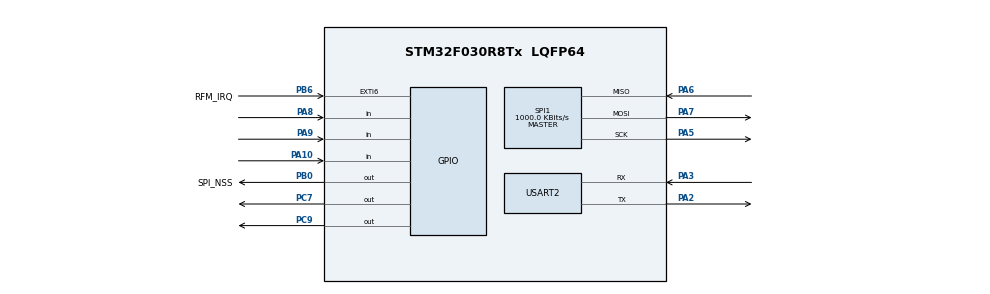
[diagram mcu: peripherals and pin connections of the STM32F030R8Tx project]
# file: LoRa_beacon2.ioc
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Mcu.Family=STM32F0
Mcu.Name=STM32F030R8Tx
Mcu.Package=LQFP64
NVIC.EXTI4_15_IRQn=true\:0\:0\:false\:false\:true\:true\:true\:true
PA10.Signal=GPIO_Input
PA13.Mode=Serial_Wire
PA13.Signal=SYS_SWDIO
PA14.Mode=Serial_Wire
PA14.Signal=SYS_SWCLK
PA2.Mode=Asynchronous
PA2.Signal=USART2_TX
PA3.Mode=Asynchronous
PA3.Signal=USART2_RX
PA5.Mode=Full_Duplex_Master
PA5.Signal=SPI1_SCK
PA6.Mode=Full_Duplex_Master
PA6.Signal=SPI1_MISO
PA7.Mode=Full_Duplex_Master
PA7.Signal=SPI1_MOSI
PA8.Signal=GPIO_Input
PA9.Signal=GPIO_Input
PB0.GPIO_Label=SPI_NSS
PB0.Signal=GPIO_Output
PB6.GPIO_Label=RFM_IRQ
PB6.Signal=GPXTI6
PC7.Signal=GPIO_Output
PC9.Signal=GPIO_Output
ProjectManager.HeapSize=0x200
ProjectManager.StackSize=0x400
ProjectManager.TargetToolchain=STM32CubeIDE
SPI1.BaudRatePrescaler=SPI_BAUDRATEPRESCALER_8
SPI1.CalculateBaudRate=1000.0 KBits/s
SPI1.DataSize=SPI_DATASIZE_8BIT
SPI1.Direction=SPI_DIRECTION_2LINES
SPI1.Mode=SPI_MODE_MASTER
SPI1.NSSPMode=SPI_NSS_PULSE_DISABLE
SPI1.VirtualType=VM_MASTER
USART2.VirtualMode-Asynchronous=VM_ASYNC
board=custom

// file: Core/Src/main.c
/* USER CODE BEGIN Header */
/**
  ******************************************************************************
  * @file           : main.c
  * @brief          : Main program body
  ******************************************************************************
  * @attention
  *
  * Copyright (c) 2023 STMicroelectronics.
  * All rights reserved.
  *
  * This software is licensed under terms that can be found in the LICENSE file
  * in the root directory of this software component.
  * If no LICENSE file comes with this software, it is provided AS-IS.
  *
  ******************************************************************************
  */
/* USER CODE END Header */
#include "main.h"

/* USER CODE BEGIN Includes */
#include <stdbool.h>
#include <stdio.h>
#include <string.h>
#include "../lora/sx1276.h"

/* USER CODE END Includes */

/* USER CODE BEGIN PD */

#define RF_FREQUENCY                                869525000 // Hz

#define TX_OUTPUT_POWER                             2         // dBm

#define LORA_BANDWIDTH                              0         // [0: 125 kHz,
                                                              //  1: 250 kHz,
                                                              //  2: 500 kHz,
                                                              //  3: Reserved]
#define LORA_SPREADING_FACTOR                       9         // [SF7..SF12]
#define LORA_CODINGRATE                             1         // [1: 4/5,
                                                              //  2: 4/6,
                                                              //  3: 4/7,
                                                              //  4: 4/8]
#define LORA_PREAMBLE_LENGTH                        8         // Same for Tx and Rx
#define LORA_SYMBOL_TIMEOUT                         5         // Symbols
#define LORA_FIX_LENGTH_PAYLOAD_ON                  true
#define LORA_FIX_LENGTH_PAYLOAD						17
#define LORA_IQ_INVERSION_ON                        false

/* USER CODE END PD */

SPI_HandleTypeDef hspi1;

UART_HandleTypeDef huart2;

/* USER CODE BEGIN PV */

static volatile bool rf95_available = false;

static uint8_t r_buf[256];
static volatile uint8_t r_len;

/* USER CODE END PV */

void SystemClock_Config(void);
static void MX_GPIO_Init(void);
static void MX_USART2_UART_Init(void);
static void MX_SPI1_Init(void);

/* USER CODE BEGIN 0 */

int _write(int file, char const *buf, int n)
{
    /* stdout redirection to UART2 */
    HAL_UART_Transmit(&huart2, (uint8_t*)(buf), n, HAL_MAX_DELAY);
    return n;
}

void OnRxDone(uint8_t *payload, uint16_t size, int16_t rssi, int8_t snr)
{
    r_len = size;
    memcpy(r_buf, payload, size);

    rf95_available = true;
}

/* USER CODE END 0 */

int main(void)
{

  /* MCU Configuration--------------------------------------------------------*/

  /* Reset of all peripherals, Initializes the Flash interface and the Systick. */
  HAL_Init();

  /* Configure the system clock */
  SystemClock_Config();

  /* Initialize all configured peripherals */
  MX_GPIO_Init();
  MX_USART2_UART_Init();
  MX_SPI1_Init();
  /* USER CODE BEGIN 2 */

  printf("Init: ");

  // Radio initialization
    static RadioEvents_t RadioEvents = {
        .TxDone = NULL,
        .RxDone = OnRxDone,
        .RxError = NULL,
    };

    printf(SX1276Init( &RadioEvents ) ? "ok\n" : "fail\n");

    SX1276SetChannel( RF_FREQUENCY );

    SX1276SetPublicNetwork( true );

    SX1276SetTxConfig( TX_OUTPUT_POWER, LORA_BANDWIDTH,
                                   LORA_SPREADING_FACTOR, LORA_CODINGRATE,
                                   LORA_PREAMBLE_LENGTH, LORA_FIX_LENGTH_PAYLOAD_ON,
                                   true, LORA_IQ_INVERSION_ON );

    SX1276SetRxConfig( LORA_BANDWIDTH, LORA_SPREADING_FACTOR,
                                   LORA_CODINGRATE, 0, LORA_PREAMBLE_LENGTH,
                                   LORA_SYMBOL_TIMEOUT, LORA_FIX_LENGTH_PAYLOAD_ON,
								   LORA_FIX_LENGTH_PAYLOAD, false, LORA_IQ_INVERSION_ON, true );

    SX1276SetRx();

    printf("Init done\n");

  /* USER CODE END 2 */

  /* Infinite loop */
  /* USER CODE BEGIN WHILE */
  while (1)
  {

      if (rf95_available) {
          // Should be a message for us now
		  for (uint8_t i = 0; i < r_len; i++) printf("%.2X", r_buf[i]);
		  printf("\n");

          rf95_available = false;
      }

    /* USER CODE END WHILE */

  }
}

void SystemClock_Config(void)
{
  RCC_OscInitTypeDef RCC_OscInitStruct = {0};
  RCC_ClkInitTypeDef RCC_ClkInitStruct = {0};

  /** Initializes the RCC Oscillators according to the specified parameters
  * in the RCC_OscInitTypeDef structure.
  */
  RCC_OscInitStruct.OscillatorType = RCC_OSCILLATORTYPE_HSI;
  RCC_OscInitStruct.HSIState = RCC_HSI_ON;
  RCC_OscInitStruct.HSICalibrationValue = RCC_HSICALIBRATION_DEFAULT;
  RCC_OscInitStruct.PLL.PLLState = RCC_PLL_NONE;
  if (HAL_RCC_OscConfig(&RCC_OscInitStruct) != HAL_OK)
  {
    Error_Handler();
  }

  /** Initializes the CPU, AHB and APB buses clocks
  */
  RCC_ClkInitStruct.ClockType = RCC_CLOCKTYPE_HCLK|RCC_CLOCKTYPE_SYSCLK
                              |RCC_CLOCKTYPE_PCLK1;
  RCC_ClkInitStruct.SYSCLKSource = RCC_SYSCLKSOURCE_HSI;
  RCC_ClkInitStruct.AHBCLKDivider = RCC_SYSCLK_DIV1;
  RCC_ClkInitStruct.APB1CLKDivider = RCC_HCLK_DIV1;

  if (HAL_RCC_ClockConfig(&RCC_ClkInitStruct, FLASH_LATENCY_0) != HAL_OK)
  {
    Error_Handler();
  }
}

static void MX_SPI1_Init(void)
{

  /* SPI1 parameter configuration*/
  hspi1.Instance = SPI1;
  hspi1.Init.Mode = SPI_MODE_MASTER;
  hspi1.Init.Direction = SPI_DIRECTION_2LINES;
  hspi1.Init.DataSize = SPI_DATASIZE_8BIT;
  hspi1.Init.CLKPolarity = SPI_POLARITY_LOW;
  hspi1.Init.CLKPhase = SPI_PHASE_1EDGE;
  hspi1.Init.NSS = SPI_NSS_SOFT;
  hspi1.Init.BaudRatePrescaler = SPI_BAUDRATEPRESCALER_8;
  hspi1.Init.FirstBit = SPI_FIRSTBIT_MSB;
  hspi1.Init.TIMode = SPI_TIMODE_DISABLE;
  hspi1.Init.CRCCalculation = SPI_CRCCALCULATION_DISABLE;
  hspi1.Init.CRCPolynomial = 7;
  hspi1.Init.CRCLength = SPI_CRC_LENGTH_DATASIZE;
  hspi1.Init.NSSPMode = SPI_NSS_PULSE_DISABLE;
  if (HAL_SPI_Init(&hspi1) != HAL_OK)
  {
    Error_Handler();
  }

}

static void MX_USART2_UART_Init(void)
{

  huart2.Instance = USART2;
  huart2.Init.BaudRate = 38400;
  huart2.Init.WordLength = UART_WORDLENGTH_8B;
  huart2.Init.StopBits = UART_STOPBITS_1;
  huart2.Init.Parity = UART_PARITY_NONE;
  huart2.Init.Mode = UART_MODE_TX_RX;
  huart2.Init.HwFlowCtl = UART_HWCONTROL_NONE;
  huart2.Init.OverSampling = UART_OVERSAMPLING_16;
  huart2.Init.OneBitSampling = UART_ONE_BIT_SAMPLE_DISABLE;
  huart2.AdvancedInit.AdvFeatureInit = UART_ADVFEATURE_NO_INIT;
  if (HAL_UART_Init(&huart2) != HAL_OK)
  {
    Error_Handler();
  }

}

static void MX_GPIO_Init(void)
{
  GPIO_InitTypeDef GPIO_InitStruct = {0};

  /* GPIO Ports Clock Enable */
  __HAL_RCC_GPIOA_CLK_ENABLE();
  __HAL_RCC_GPIOB_CLK_ENABLE();
  __HAL_RCC_GPIOC_CLK_ENABLE();

  /*Configure GPIO pin Output Level */
  HAL_GPIO_WritePin(SPI_NSS_GPIO_Port, SPI_NSS_Pin, GPIO_PIN_RESET);

  /*Configure GPIO pin Output Level */
  HAL_GPIO_WritePin(GPIOC, GPIO_PIN_7|GPIO_PIN_9, GPIO_PIN_RESET);

  /*Configure GPIO pin : SPI_NSS_Pin */
  GPIO_InitStruct.Pin = SPI_NSS_Pin;
  GPIO_InitStruct.Mode = GPIO_MODE_OUTPUT_PP;
  GPIO_InitStruct.Pull = GPIO_NOPULL;
  GPIO_InitStruct.Speed = GPIO_SPEED_FREQ_LOW;
  HAL_GPIO_Init(SPI_NSS_GPIO_Port, &GPIO_InitStruct);

  /*Configure GPIO pins : PC7 PC9 */
  GPIO_InitStruct.Pin = GPIO_PIN_7|GPIO_PIN_9;
  GPIO_InitStruct.Mode = GPIO_MODE_OUTPUT_PP;
  GPIO_InitStruct.Pull = GPIO_NOPULL;
  GPIO_InitStruct.Speed = GPIO_SPEED_FREQ_LOW;
  HAL_GPIO_Init(GPIOC, &GPIO_InitStruct);

  /*Configure GPIO pins : PA8 PA9 PA10 */
  GPIO_InitStruct.Pin = GPIO_PIN_8|GPIO_PIN_9|GPIO_PIN_10;
  GPIO_InitStruct.Mode = GPIO_MODE_INPUT;
  GPIO_InitStruct.Pull = GPIO_NOPULL;
  HAL_GPIO_Init(GPIOA, &GPIO_InitStruct);

  /*Configure GPIO pin : RFM_IRQ_Pin */
  GPIO_InitStruct.Pin = RFM_IRQ_Pin;
  GPIO_InitStruct.Mode = GPIO_MODE_IT_RISING;
  GPIO_InitStruct.Pull = GPIO_NOPULL;
  HAL_GPIO_Init(RFM_IRQ_GPIO_Port, &GPIO_InitStruct);

  /* EXTI interrupt init*/
  HAL_NVIC_SetPriority(EXTI4_15_IRQn, 0, 0);
  HAL_NVIC_EnableIRQ(EXTI4_15_IRQn);

}

void Error_Handler(void)
{
  __disable_irq();
  while (1)
  {
  }
}
